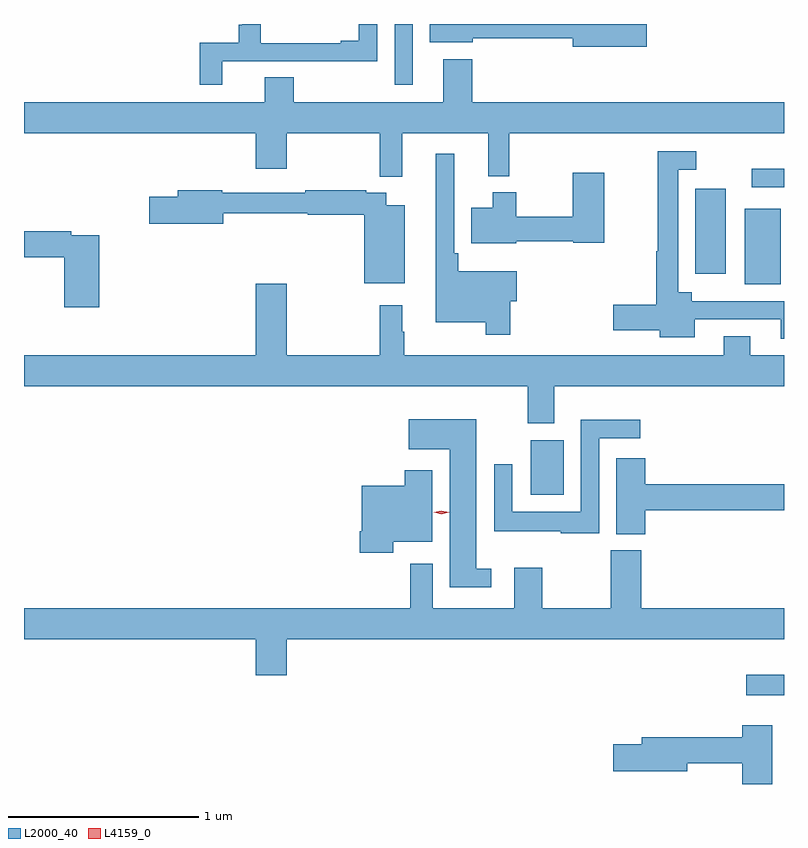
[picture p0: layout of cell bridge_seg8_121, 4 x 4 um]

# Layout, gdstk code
import gdstk
lib = gdstk.Library(unit=1e-6, precision=1e-09)
def R(c, l, rs):  # rectangles x0, y0, x1, y1
    for r in rs: c.add(gdstk.rectangle(r[:2], r[2:], *l))
def P(c, l, *ps):  # polygons
    for p in ps: c.add(gdstk.Polygon(p, *l))
L2000_40 = (2000, 40)
L4159_0 = (4159, 0)

bridge_seg8_121 = lib.new_cell('bridge_seg8_121')
R(bridge_seg8_121, L2000_40, [(862.893,1157.498,863.092,1157.606), (861.758,1158.554,861.934,1158.841), (862.886,1159.661,863.074,1160.059), (862.625,1159.716,862.786,1160.164), (862.923,1160.172,863.092,1160.268), (861.042,1160.712,861.138,1161.031)])
P(bridge_seg8_121, L2000_40, [(860.136,1160.834),(860.334,1160.834),(860.334,1160.835),(860.596,1160.835),(860.596,1160.834),(860.952,1160.834),(860.952,1161.031),(860.855,1161.031),(860.855,1160.944),(860.759,1160.944),(860.759,1160.931),(860.337,1160.931),(860.337,1161.031),(860.241,1161.031),(860.241,1161.028),(860.221,1161.028),(860.221,1160.932),(860.017,1160.932),(860.017,1160.712),(860.136,1160.712)],
  [(862.369,1161.031),(861.227,1161.031),(861.227,1160.936),(861.454,1160.936),(861.454,1160.955),(861.98,1160.955),(861.98,1160.912),(862.369,1160.912)],
  [(861.452,1160.845),(861.299,1160.845),(861.299,1160.62),(860.513,1160.62),(860.513,1160.75),(860.36,1160.75),(860.36,1160.62),(859.092,1160.62),(859.092,1160.456),(860.312,1160.456),(860.312,1160.268),(860.476,1160.268),(860.476,1160.456),(860.965,1160.456),(860.965,1160.227),(861.083,1160.227),(861.083,1160.456),(861.536,1160.456),(861.536,1160.231),(861.646,1160.231),(861.646,1160.456),(863.092,1160.456),(863.092,1160.62),(861.452,1160.62)],
  [(863.092,1159.572),(862.606,1159.572),(862.606,1159.618),(862.536,1159.618),(862.536,1160.265),(862.63,1160.265),(862.63,1160.361),(862.428,1160.361),(862.428,1159.836),(862.42,1159.836),(862.42,1159.553),(862.194,1159.553),(862.194,1159.418),(862.439,1159.418),(862.439,1159.382),(862.621,1159.382),(862.621,1159.476),(863.075,1159.476),(863.075,1159.374),(863.092,1159.374)],
  [(861.65,1159.571),(861.685,1159.571),(861.685,1159.729),(861.377,1159.729),(861.377,1159.825),(861.357,1159.825),(861.357,1160.347),(861.26,1160.347),(861.26,1159.46),(861.522,1159.46),(861.522,1159.395),(861.65,1159.395)],
  [(861.682,1159.888),(861.984,1159.888),(861.984,1159.88),(862.146,1159.88),(862.146,1160.248),(861.98,1160.248),(861.98,1160.017),(861.682,1160.017),(861.682,1160.146),(861.56,1160.146),(861.56,1160.065),(861.446,1160.065),(861.446,1159.877),(861.682,1159.877)],
  [(861.097,1160.077),(860.998,1160.077),(860.998,1160.142),(860.894,1160.142),(860.894,1160.155),(860.572,1160.155),(860.572,1160.142),(860.136,1160.142),(860.136,1160.155),(859.901,1160.155),(859.901,1160.121),(859.752,1160.121),(859.752,1159.979),(860.14,1159.979),(860.14,1160.034),(860.586,1160.034),(860.586,1160.026),(860.882,1160.026),(860.882,1159.667),(861.097,1159.667)],
  [(859.487,1159.92),(859.34,1159.92),(859.34,1159.94),(859.092,1159.94),(859.092,1159.804),(859.304,1159.804),(859.304,1159.539),(859.487,1159.539)],
  [(861.883,1159.124),(863.092,1159.124),(863.092,1159.288),(862.915,1159.288),(862.915,1159.387),(862.775,1159.387),(862.775,1159.288),(861.094,1159.288),(861.094,1159.412),(861.082,1159.412),(861.082,1159.552),(860.965,1159.552),(860.965,1159.288),(860.476,1159.288),(860.476,1159.663),(860.312,1159.663),(860.312,1159.288),(859.092,1159.288),(859.092,1159.124),(861.743,1159.124),(861.743,1158.93),(861.883,1158.93)],
  [(861.55,1158.164),(861.472,1158.164),(861.472,1158.952),(861.117,1158.952),(861.117,1158.794),(861.332,1158.794),(861.332,1158.066),(861.55,1158.066)],
  [(862.119,1158.852),(862.336,1158.852),(862.336,1158.949),(862.023,1158.949),(862.023,1158.463),(861.663,1158.463),(861.663,1158.715),(861.567,1158.715),(861.567,1158.362),(861.916,1158.362),(861.916,1158.352),(862.119,1158.352)],
  [(862.361,1158.472),(863.092,1158.472),(863.092,1158.608),(862.361,1158.608),(862.361,1158.745),(862.208,1158.745),(862.208,1158.346),(862.361,1158.346)],
  [(861.036,1158.305),(861.241,1158.305),(861.241,1158.682),(861.095,1158.682),(861.095,1158.601),(860.87,1158.601),(860.87,1158.361),(860.858,1158.361),(860.858,1158.249),(861.036,1158.249)],
  [(860.476,1157.792),(863.092,1157.792),(863.092,1157.956),(862.34,1157.956),(862.34,1158.261),(862.18,1158.261),(862.18,1157.956),(861.819,1157.956),(861.819,1158.169),(861.671,1158.169),(861.671,1157.956),(861.244,1157.956),(861.244,1158.19),(861.126,1158.19),(861.126,1157.956),(859.092,1157.956),(859.092,1157.792),(860.312,1157.792),(860.312,1157.604),(860.476,1157.604)],
  [(863.029,1157.341),(862.871,1157.341),(862.871,1157.276),(862.343,1157.276),(862.343,1157.24),(862.194,1157.24),(862.194,1157.098),(862.582,1157.098),(862.582,1157.14),(862.871,1157.14),(862.871,1157.031),(863.029,1157.031)])
P(bridge_seg8_121, L4159_0, [(861.289,1158.45),(861.248,1158.461),(861.248,1158.461),(861.248,1158.461),(861.289,1158.47),(861.329,1158.46),(861.33,1158.46),(861.329,1158.46)])

lib.write_gds('bridge_seg8_121.gds')
